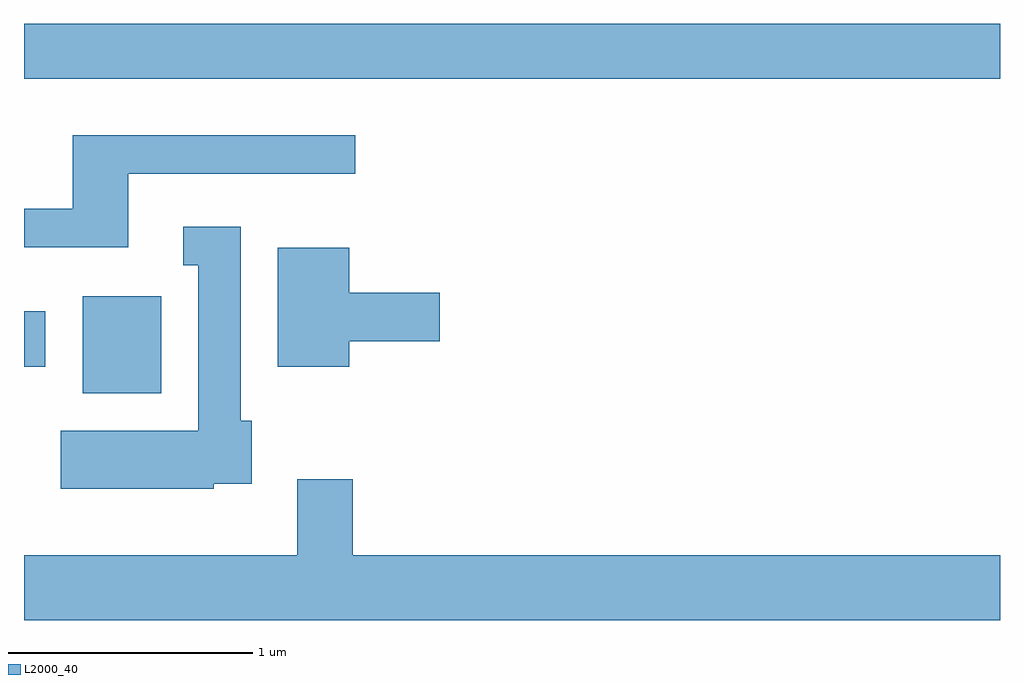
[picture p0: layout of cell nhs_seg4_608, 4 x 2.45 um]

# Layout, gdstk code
import gdstk
lib = gdstk.Library(unit=1e-6, precision=1e-09)
def R(c, l, rs):  # rectangles x0, y0, x1, y1
    for r in rs: c.add(gdstk.rectangle(r[:2], r[2:], *l))
def P(c, l, *ps):  # polygons
    for p in ps: c.add(gdstk.Polygon(p, *l))
L2000_40 = (2000, 40)

nhs_seg4_608 = lib.new_cell('nhs_seg4_608')
R(nhs_seg4_608, L2000_40, [(201.851,1384.466,202.174,1384.864), (201.611,1384.576,201.699,1384.804), (201.611,1385.756,205.611,1385.982)])
P(nhs_seg4_608, L2000_40, [(202.039,1385.366),(202.968,1385.366),(202.968,1385.524),(201.811,1385.524),(201.811,1385.224),(201.611,1385.224),(201.611,1385.066),(202.039,1385.066)],
  [(202.389,1384.096),(202.544,1384.096),(202.544,1384.354),(202.499,1384.354),(202.499,1385.149),(202.263,1385.149),(202.263,1384.991),(202.326,1384.991),(202.326,1384.314),(201.761,1384.314),(201.761,1384.076),(202.389,1384.076)],
  [(202.944,1384.681),(203.314,1384.681),(203.314,1384.879),(202.944,1384.879),(202.944,1385.064),(202.651,1385.064),(202.651,1384.576),(202.944,1384.576)],
  [(205.611,1383.804),(202.959,1383.804),(202.959,1384.114),(202.731,1384.114),(202.731,1383.804),(201.611,1383.804),(201.611,1383.536),(205.611,1383.536)])

lib.write_gds('nhs_seg4_608.gds')
